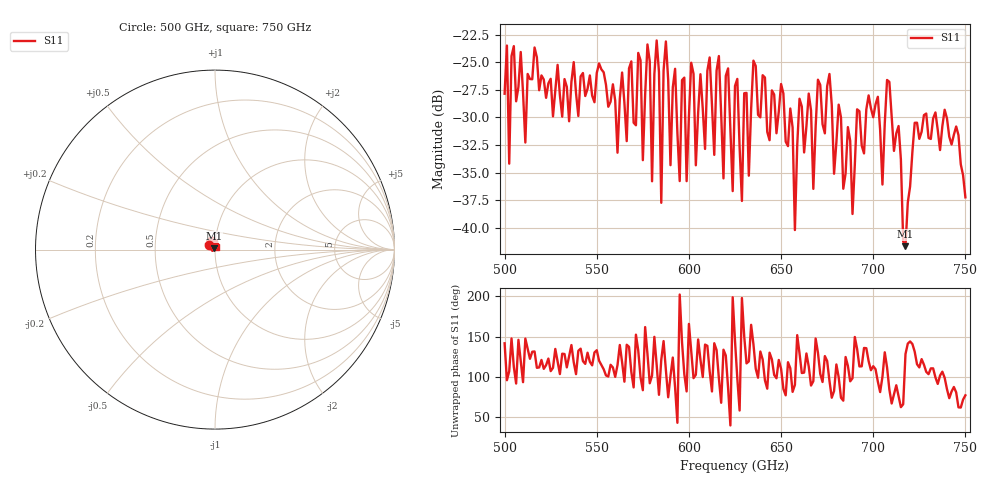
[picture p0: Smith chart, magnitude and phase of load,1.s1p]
!Created with mwavepy.
# GHz S RI R 50.0
!freq	ReS11	ImS11
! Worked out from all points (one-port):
!   201 points, 500 GHz to 750 GHz, reference 50 ohm
!   lowest |S11| = -41.7 dB at 717.5 GHz (marker M1), VSWR 1.02, Z = 49.5 + j0.64 ohm
!   |S11| at or under -10 dB: start of sweep to end of sweep
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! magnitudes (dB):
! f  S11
! 500 GHz  -27.9
! 531.2 GHz  -29.9
! 562.5 GHz  -28.3
! 572.5 GHz  -24.2
! 575 GHz  -33.9
! 577.5 GHz  -23.4
! 580 GHz  -35.8
! 582.5 GHz  -23.0
! 585 GHz  -37.7
! 587.5 GHz  -23.1
! 593.8 GHz  -31.4
! 611.2 GHz  -24.6
! 613.8 GHz  -33.4
! 616.2 GHz  -24.4
! 623.8 GHz  -36.7
! 625 GHz  -27.2
! 628.8 GHz  -37.6
! 635 GHz  -24.9
! 656.2 GHz  -30.9
! 657.5 GHz  -40.2
! 660 GHz  -28.3
! 687.5 GHz  -32.1
! 705 GHz  -36.1
! 708.8 GHz  -26.8
! 717.5 GHz  -41.7
! 718.8 GHz  -37.7
! 738.8 GHz  -29.3
! 750 GHz  -37.3
